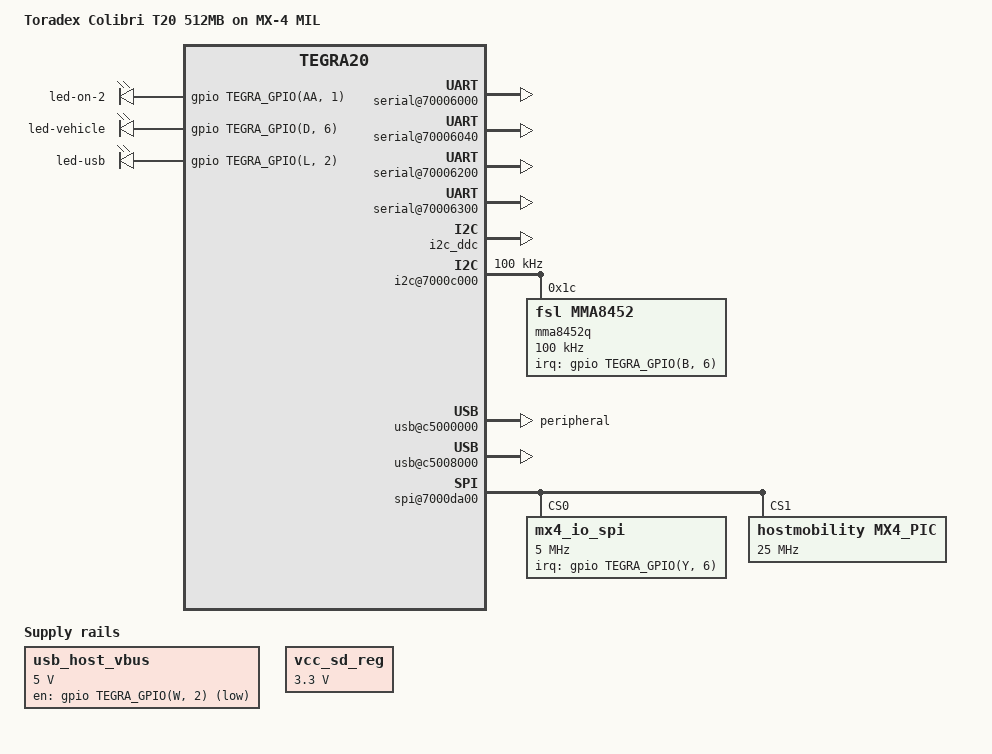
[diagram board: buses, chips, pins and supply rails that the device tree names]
#include "tegra20-colibri-512.dtsi"

/ {
	model = "Toradex Colibri T20 512MB on MX-4 MIL";
	compatible = "hostmobility,mx4-mil", "toradex,colibri_t20-512", "nvidia,tegra20";

	aliases {
		serial0 = &uarta;
		serial1 = &uartb;
		serial2 = &uartc;
		serial3 = &uartd;
	};

	leds {
		compatible = "gpio-leds";

		on {
			label = "led-on-2";
			gpios = <&gpio TEGRA_GPIO(AA, 1) GPIO_ACTIVE_HIGH>;
			default-state = "on";
		};

		vehicle {
			label = "led-vehicle";
			gpios = <&gpio TEGRA_GPIO(D, 6) GPIO_ACTIVE_HIGH>;
			default-state = "off";
		};

		rndis {
			label = "led-usb";
			gpios = <&gpio TEGRA_GPIO(L, 2) GPIO_ACTIVE_HIGH>;
			default-state = "off";
		};
	};

	pinmux@70000014 {
		state_default: pinmux {
			hdint {
				nvidia,tristate = <TEGRA_PIN_DISABLE>;
			};

			i2cddc {
				nvidia,tristate = <TEGRA_PIN_DISABLE>;
			};
			
			/* ACC-INT1 */
			acc_int1 {
				nvidia,pins = "sdc";
				nvidia,function = "sdio3";
				nvidia,pull = <TEGRA_PIN_PULL_DOWN>;
				nvidia,tristate = <TEGRA_PIN_DISABLE>;
				nvidia,enable-input = <TEGRA_PIN_ENABLE>;
			};
			
			i2c1 {
				nvidia,tristate = <TEGRA_PIN_DISABLE>;
			};
			sdio4 {
				nvidia,tristate = <TEGRA_PIN_DISABLE>;
			};

			uarta {
				nvidia,tristate = <TEGRA_PIN_DISABLE>;
			};

			/* a.k.a uartb */
			irda {
				nvidia,pull = <TEGRA_PIN_PULL_DOWN>;
				nvidia,tristate = <TEGRA_PIN_DISABLE>;
			};

			uartc {
				nvidia,pins = "uca";
				nvidia,function = "uartc";
				nvidia,pull = <TEGRA_PIN_PULL_NONE>;
				nvidia,tristate = <TEGRA_PIN_DISABLE>;
			};

			uartd {
				nvidia,tristate = <TEGRA_PIN_DISABLE>;
			};

			spi4 {
				nvidia,pull = <TEGRA_PIN_PULL_UP>;
				nvidia,tristate = <TEGRA_PIN_DISABLE>;
			};

			/* led-on-2 */
			sdio4 {
				nvidia,tristate = <TEGRA_PIN_DISABLE>;
			};

			/* led-vehicle & led-usb */
			vi {
				nvidia,tristate = <TEGRA_PIN_DISABLE>;
			};

			gpio_gmi {
				nvidia,pins = "ata", "atc", "atd", "ate",
					"dap1", "dap2", "dap4", "gpu", "spia",
					"spib", "spic", "ucb";
			};
		};
	};

	serial@70006000 {
		status = "okay";
	};

	serial@70006040 {
		compatible = "nvidia,tegra20-hsuart";
		status = "okay";
	};

	serial@70006200 {
		status = "okay";
	};

	serial@70006300 {
		compatible = "nvidia,tegra20-hsuart";
		status = "okay";
	};

	i2c_ddc: i2c@7000c400 {
		status = "okay";
		
	};
	
	i2c@7000c000 {
		status = "okay";
		clock-frequency = <100000>;
		
		mma8452q@1c {
			compatible = "fsl,mma8452";
			reg = <0x1c>;
			clock-frequency = <100000>;
			interrupt-parent = <&gpio>;
			interrupt-names = "INT1";
			interrupts = <TEGRA_GPIO(B, 6) GPIO_ACTIVE_HIGH>;
		};
	};

	usb@c5000000 {
		compatible = "nvidia,tegra20-udc";
		status = "okay";
		dr_mode = "peripheral";
	};

	usb-phy@c5000000 {
		status = "okay";
	};

	usb@c5008000 {
		status = "okay";
	};

	usb-phy@c5008000 {
		status = "okay";
	};

	/* SPI4: Colibri SSP */
	spi@7000da00 {
		status = "okay";
		spi-max-frequency = <25000000>;

		mx4_io_spi: spi@0 {
			compatible = "mx4_io_spi";
			reg = <0>;
			spi-max-frequency = <5000000>;
			interrupt-parent = <&gpio>;
			interrupts = <TEGRA_GPIO(Y, 6) GPIO_ACTIVE_HIGH>;
			spi-cpha;
		};

		mx4_pic: spi@1 {
			compatible = "hostmobility,mx4_pic";
			reg = <1>;
			spi-max-frequency = <25000000>;
		};
	};

	regulators {
		regulator@0 {
			compatible = "regulator-fixed";
			reg = <0>;
			regulator-name = "usb_host_vbus";
			regulator-min-microvolt = <5000000>;
			regulator-max-microvolt = <5000000>;
			regulator-boot-on;
			regulator-always-on;
			gpio = <&gpio TEGRA_GPIO(W, 2) GPIO_ACTIVE_HIGH>;
		};

		vcc_sd_reg: regulator@1 {
			compatible = "regulator-fixed";
			reg = <1>;
			regulator-name = "vcc_sd";
			regulator-min-microvolt = <3300000>;
			regulator-max-microvolt = <3300000>;
			regulator-boot-on;
			regulator-always-on;
		};
	};
};
